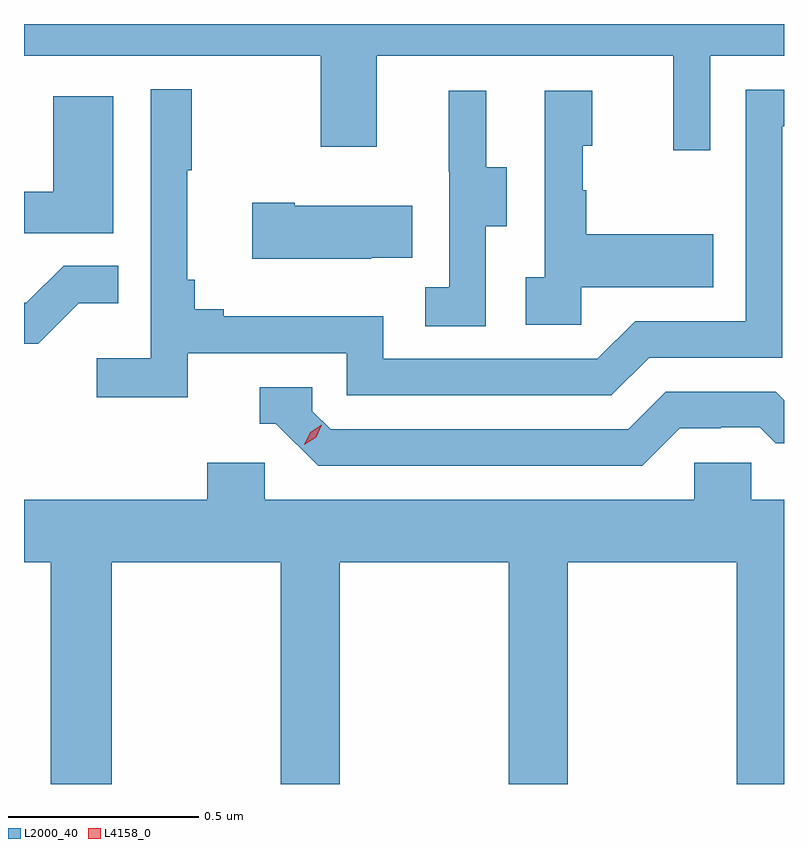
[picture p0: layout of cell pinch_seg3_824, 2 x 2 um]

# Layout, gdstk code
import gdstk
lib = gdstk.Library(unit=1e-6, precision=1e-09)
def P(c, l, *ps):  # polygons
    for p in ps: c.add(gdstk.Polygon(p, *l))
L2000_40 = (2000, 40)
L4158_0 = (4158, 0)

pinch_seg3_824 = lib.new_cell('pinch_seg3_824')
P(pinch_seg3_824, L2000_40, [(865.041,710.24),(865.235,710.24),(865.235,710.324),(863.235,710.324),(863.235,710.24),(864.016,710.24),(864.016,710.001),(864.163,710.001),(864.163,710.24),(864.944,710.24),(864.944,709.992),(865.041,709.992)],
  [(863.666,709.458),(864.084,709.458),(864.084,709.347),(864.781,709.347),(864.88,709.446),(865.23,709.446),(865.23,710.055),(865.235,710.055),(865.235,710.151),(865.134,710.151),(865.134,709.542),(864.843,709.542),(864.744,709.443),(864.18,709.443),(864.18,709.555),(863.761,709.555),(863.761,709.574),(863.684,709.574),(863.684,709.651),(863.665,709.651),(863.665,709.939),(863.677,709.939),(863.677,710.152),(863.568,710.152),(863.568,709.444),(863.427,709.444),(863.427,709.342),(863.666,709.342)],
  [(864.45,709.792),(864.505,709.792),(864.505,709.947),(864.451,709.947),(864.451,710.149),(864.353,710.149),(864.353,709.935),(864.354,709.935),(864.354,709.631),(864.291,709.631),(864.291,709.528),(864.45,709.528)],
  [(864.702,709.631),(865.049,709.631),(865.049,709.771),(864.715,709.771),(864.715,709.886),(864.705,709.886),(864.705,710.004),(864.73,710.004),(864.73,710.149),(864.606,710.149),(864.606,709.658),(864.555,709.658),(864.555,709.533),(864.702,709.533)],
  [(863.47,710.134),(863.312,710.134),(863.312,709.882),(863.235,709.882),(863.235,709.773),(863.47,709.773)],
  [(864.149,709.709),(864.257,709.709),(864.257,709.846),(863.947,709.846),(863.947,709.854),(863.835,709.854),(863.835,709.706),(864.149,709.706)],
  [(863.379,709.589),(863.483,709.589),(863.483,709.688),(863.339,709.688),(863.241,709.59),(863.235,709.59),(863.235,709.482),(863.272,709.482)],
  [(864.961,709.26),(865.068,709.26),(865.068,709.263),(865.171,709.263),(865.213,709.221),(865.235,709.221),(865.235,709.334),(865.213,709.356),(864.924,709.356),(864.825,709.257),(864.042,709.257),(863.994,709.305),(863.994,709.368),(863.855,709.368),(863.855,709.272),(863.898,709.272),(864.009,709.161),(864.862,709.161)],
  [(863.911,708.324),(864.066,708.324),(864.066,708.908),(864.511,708.908),(864.511,708.324),(864.666,708.324),(864.666,708.908),(865.111,708.908),(865.111,708.324),(865.235,708.324),(865.235,709.072),(865.149,709.072),(865.149,709.17),(864.999,709.17),(864.999,709.072),(863.868,709.072),(863.868,709.17),(863.717,709.17),(863.717,709.072),(863.235,709.072),(863.235,708.908),(863.306,708.908),(863.306,708.324),(863.466,708.324),(863.466,708.908),(863.911,708.908)])
P(pinch_seg3_824, L4158_0, [(863.973,709.217),(863.973,709.217),(863.988,709.25),(864.019,709.27),(864.019,709.27),(864.019,709.269),(864.004,709.237),(863.973,709.217)])

lib.write_gds('pinch_seg3_824.gds')
